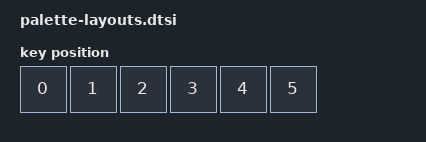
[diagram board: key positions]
#include <physical_layouts.dtsi>

/ {
    physical_layout0: physical_layout_0 {
        compatible = "zmk,physical-layout";
        display-name = "Default";
        transform = <
            0 0
            0 1
            0 2
            0 3
            0 4
        >;
        kscan = <&kscan0>;
        keys  //                     w   h    x    y     rot    rx    ry
            = <&key_physical_attrs 100 100    0    0       0     0     0>
            , <&key_physical_attrs 100 100  100    0       0     0     0>
            , <&key_physical_attrs 100 100  200    0       0     0     0>
            , <&key_physical_attrs 100 100  300    0       0     0     0>
            , <&key_physical_attrs 100 100  400    0       0     0     0>
            , <&key_physical_attrs 100 100  500    0       0     0     0>
            ;
    };
};

